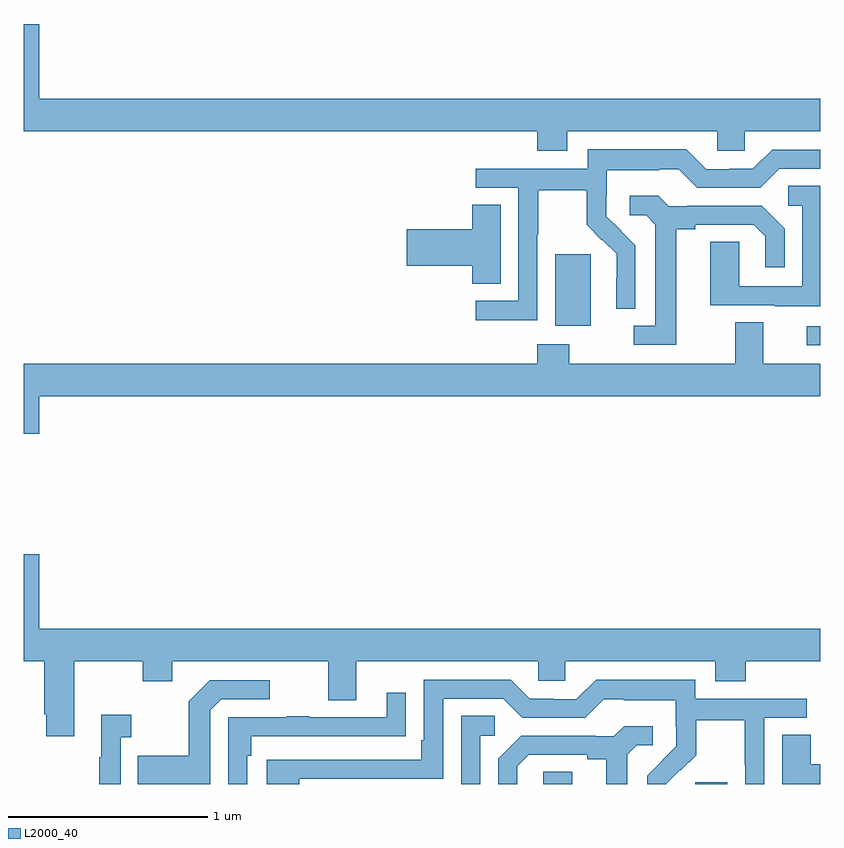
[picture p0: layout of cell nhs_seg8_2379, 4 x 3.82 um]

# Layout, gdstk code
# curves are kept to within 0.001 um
import gdstk
lib = gdstk.Library(unit=1e-6, precision=1e-09)
def R(c, l, rs):  # rectangles x0, y0, x1, y1
    for r in rs: c.add(gdstk.rectangle(r[:2], r[2:], *l))
def P(c, l, *ps):  # polygons
    for p in ps: c.add(gdstk.Polygon(p, *l))
L2000_40 = (2000, 40)

nhs_seg8_2379 = lib.new_cell('nhs_seg8_2379')
R(nhs_seg8_2379, L2000_40, [(263.61,1099.9,263.755,1099.961), (264.374,1099.9,264.535,1099.909), (264.933,1102.104,265,1102.2), (263.669,1102.202,263.848,1102.563)])
P(nhs_seg8_2379, L2000_40, [(263.731,1103.18),(264.483,1103.18),(264.483,1103.082),(264.621,1103.082),(264.621,1103.18),(265,1103.18),(265,1103.344),(261.076,1103.344),(261.076,1103.719),(261,1103.719),(261,1103.18),(263.579,1103.18),(263.579,1103.081),(263.731,1103.081)],
  [(263.58,1102.66),(263.583,1102.66),(263.583,1102.884),(263.827,1102.884),(263.827,1102.709),(263.904,1102.632),(263.907,1102.635),(263.978,1102.565),(263.978,1102.442),(263.976,1102.442),(263.976,1102.288),(264.072,1102.288),(264.072,1102.606),(263.926,1102.754),(263.926,1102.851),(263.928,1102.851),(263.928,1102.985),(264.191,1102.985),(264.191,1102.989),(264.291,1102.989),(264.384,1102.896),(264.699,1102.896),(264.795,1102.992),(265,1102.992),(265,1103.088),(264.759,1103.088),(264.663,1102.992),(264.545,1102.992),(264.545,1102.989),(264.429,1102.989),(264.329,1103.089),(263.832,1103.089),(263.832,1102.992),(263.271,1102.992),(263.271,1102.896),(263.484,1102.896),(263.484,1102.329),(263.271,1102.329),(263.271,1102.231),(263.58,1102.231)],
  [(265,1102.907),(264.84,1102.907),(264.84,1102.806),(264.912,1102.806),(264.912,1102.401),(264.594,1102.401),(264.594,1102.625),(264.449,1102.625),(264.449,1102.305),(264.773,1102.305),(264.773,1102.301),(265,1102.301)],
  [(264.277,1102.688),(264.373,1102.688),(264.373,1102.71),(264.668,1102.71),(264.725,1102.653),(264.725,1102.497),(264.822,1102.497),(264.822,1102.69),(264.706,1102.806),(264.334,1102.806),(264.334,1102.803),(264.24,1102.803),(264.188,1102.855),(264.045,1102.855),(264.045,1102.758),(264.126,1102.758),(264.173,1102.711),(264.173,1102.203),(264.063,1102.203),(264.063,1102.107),(264.277,1102.107)],
  [(263.395,1102.811),(263.252,1102.811),(263.252,1102.688),(262.923,1102.688),(262.923,1102.505),(263.252,1102.505),(263.252,1102.414),(263.395,1102.414)],
  [(261.076,1101.848),(265,1101.848),(265,1102.012),(264.715,1102.012),(264.715,1102.22),(264.575,1102.22),(264.575,1102.012),(263.739,1102.012),(263.739,1102.111),(263.579,1102.111),(263.579,1102.012),(261,1102.012),(261,1101.66),(261.076,1101.66)],
  [(261.253,1100.516),(261.598,1100.516),(261.598,1100.417),(261.745,1100.417),(261.745,1100.516),(262.529,1100.516),(262.529,1100.322),(262.669,1100.322),(262.669,1100.516),(263.583,1100.516),(263.583,1100.418),(263.721,1100.418),(263.721,1100.516),(264.473,1100.516),(264.473,1100.417),(264.626,1100.417),(264.626,1100.516),(265,1100.516),(265,1100.68),(261.076,1100.68),(261.076,1101.055),(261,1101.055),(261,1100.516),(261.101,1100.516),(261.101,1100.251),(261.113,1100.251),(261.113,1100.139),(261.253,1100.139)],
  [(262.382,1099.926),(263.106,1099.926),(263.106,1100.328),(263.409,1100.328),(263.505,1100.232),(263.82,1100.232),(263.913,1100.325),(264.013,1100.325),(264.013,1100.321),(264.276,1100.321),(264.276,1100.187),(264.278,1100.187),(264.278,1100.09),(264.132,1099.942),(264.132,1099.9),(264.227,1099.9),(264.297,1099.971),(264.3,1099.968),(264.377,1100.045),(264.377,1100.22),(264.622,1100.22),(264.622,1099.996),(264.624,1099.996),(264.624,1099.9),(264.72,1099.9),(264.72,1100.232),(264.934,1100.232),(264.934,1100.328),(264.372,1100.328),(264.372,1100.425),(263.875,1100.425),(263.775,1100.325),(263.66,1100.325),(263.66,1100.328),(263.541,1100.328),(263.445,1100.424),(263.01,1100.424),(263.01,1100.119),(262.997,1100.119),(262.997,1100.022),(262.221,1100.022),(262.221,1099.9),(262.382,1099.9)],
  [(261.936,1100.271),(261.99,1100.325),(262.234,1100.325),(262.234,1100.421),(261.933,1100.421),(261.828,1100.315),(261.828,1100.043),(261.571,1100.043),(261.571,1099.9),(261.936,1099.9)],
  [(262.122,1100.042),(262.142,1100.042),(262.142,1100.139),(262.817,1100.139),(262.817,1100.14),(262.919,1100.14),(262.919,1100.359),(262.823,1100.359),(262.823,1100.235),(262.433,1100.235),(262.433,1100.24),(262.321,1100.24),(262.321,1100.235),(262.026,1100.235),(262.026,1099.9),(262.122,1099.9)],
  [(261.486,1100.135),(261.538,1100.135),(261.538,1100.248),(261.389,1100.248),(261.389,1100.035),(261.378,1100.035),(261.378,1099.9),(261.486,1099.9)],
  [(263.292,1100.142),(263.365,1100.142),(263.365,1100.243),(263.196,1100.243),(263.196,1099.9),(263.292,1099.9)],
  [(263.479,1099.989),(263.536,1100.046),(263.831,1100.046),(263.831,1100.024),(263.927,1100.024),(263.927,1099.9),(264.031,1099.9),(264.031,1100.047),(264.078,1100.094),(264.16,1100.094),(264.16,1100.191),(264.016,1100.191),(263.964,1100.139),(263.87,1100.139),(263.87,1100.142),(263.498,1100.142),(263.382,1100.026),(263.382,1099.9),(263.479,1099.9)],
  [(265,1100),(264.953,1100),(264.953,1100.147),(264.809,1100.147),(264.809,1099.9),(265,1099.9)])

lib.write_gds('nhs_seg8_2379.gds')
